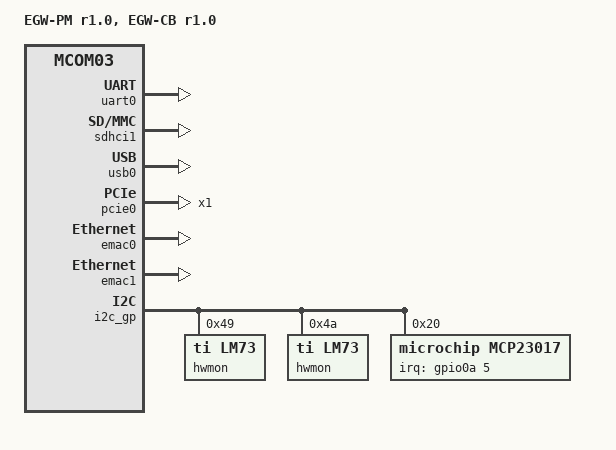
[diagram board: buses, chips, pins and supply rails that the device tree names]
// SPDX-License-Identifier: GPL-2.0+
/*
 * Copyright 2022 RnD Center "ELVEES", JSC
 */

/dts-v1/;

#include <dt-bindings/gpio/gpio.h>
#include <dt-bindings/interrupt-controller/irq.h>

#include "mcom03-egwpm-r1.0.dtsi"

/ {
	model = "EGW-PM r1.0, EGW-CB r1.0";
	compatible = "elvees,egwpm-r1.0-egwcb-r1.0",
		     "elvees,egwpm-egwcb",
		     "elvees,egwcb-r1.0",
		     "elvees,egwcb",
		     "elvees,egwpm-r1.0",
		     "elvees,egwpm",
		     "elvees,mcom03";

	chosen {
		stdout-path = "serial0:115200n8";
	};
};

/* Connected to USB Type-C through CP2105 */
&uart0 {
	status = "okay";
};

/* Connected to MicroSD card */
&sdhci1 {
	status = "okay";

	/* Unstable at 25 MHz on NGFW CB */
	max-frequency = <12000000>;

	/* Disable High Speed support
	 * Disable 1.8V support
	 * Disable SDR50, SDR104 and DDR50 support
	 */
	sdhci-caps-mask = <0x7 0x4200000>;
	sdhci-caps = <0x0 0x0>;
};

/* Connected to M.2 key B slot (for LTE) */
&usb0 {
	status = "okay";
};

/* Connected to M.2 key E slot (for WiFi) */
&pcie0 {
	status = "okay";
	num-lanes = <1>;
};

/* Connected to XP2 */
&emac0 {
	status = "okay";
};

/* Connected to XP3 */
&emac1 {
	status = "okay";
};

&i2c_gp {
	/* Such node name is used for module autoloading, because lm73 driver
	 * doesn't support autoloading based on compatible */
	hwmon@49 {
		compatible = "ti,lm73";
		reg = <0x49>;
	};

	hwmon@4a {
		compatible = "ti,lm73";
		reg = <0x4a>;
	};

	mcp23017: gpio-expander@20 {
		compatible = "microchip,mcp23017";
		gpio-controller;
		#gpio-cells = <2>;
		reg = <0x20>;

		interrupt-parent = <&gpio0a>;
		interrupts = <5 IRQ_TYPE_LEVEL_LOW>;
		interrupt-controller;
		#interrupt-cells = <2>;
		microchip,irq-mirror;

		gpio-line-names =
			"LORA_SX1261_DIO1", "LORA_SX1261_DIO2",
			"LORA_SX1261_NSS", "LORA_SX1261_nRST",
			"LORA_MCU_nRST", "LORA_GPS_nRST", "LORA_GPS_STANDBY",
			"LORA_SX1302_GPIO6", "LORA_SX1302_RST", "WIFI_ENABLE",
			"BT_ENABLE", "LTE_FULL_EN", "LTE_WWAN_EN",
			"LTE_GNSS_EN", "LTE_nRESET";

		bt-hog {
			gpio-hog;
			gpios = <10 GPIO_ACTIVE_HIGH>;
			output-high;
		};

		wifi-hog {
			gpio-hog;
			gpios = <9 GPIO_ACTIVE_HIGH>;
			output-high;
		};

		lte-hog {
			gpio-hog;
			gpios = <11 GPIO_ACTIVE_HIGH>, <12 GPIO_ACTIVE_HIGH>,
				<13 GPIO_ACTIVE_HIGH>, <14 GPIO_ACTIVE_HIGH>;
			output-high;
		};

		lora-hog {
			gpio-hog;
			gpios = <3 GPIO_ACTIVE_HIGH>, <4 GPIO_ACTIVE_HIGH>,
				<5 GPIO_ACTIVE_HIGH>, <8 GPIO_ACTIVE_HIGH>;
			output-high;
		};

		lora-extint-hog {
			/* ZOE-M8 says to leave interrupt open if unused,
			 * but since it's connected, best leave it inactive */
			gpio-hog;
			gpios = <6 GPIO_ACTIVE_LOW>;
			output-low;
		};
	};
};
